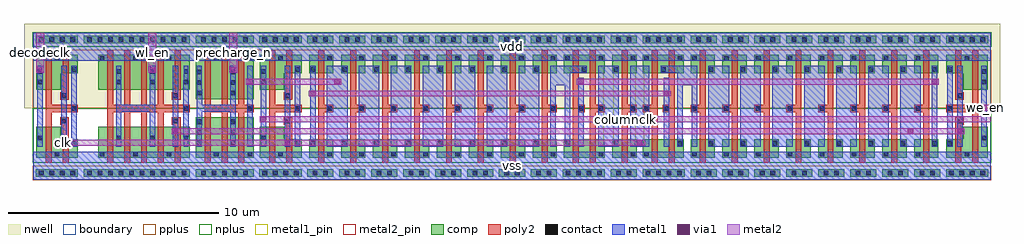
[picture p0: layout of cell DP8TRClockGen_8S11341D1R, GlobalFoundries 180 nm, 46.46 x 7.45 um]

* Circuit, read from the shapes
.subckt DP8TRClockGen_8S11341D1R clk columnclk decodeclk precharge_n vdd vss we_en wl_en
XM1 vss n1 decodeclk vss nfet_03v3 w=1.475u l=0.28u
XM2 n1 clk vss vss nfet_03v3 w=0.88u l=0.28u
XM3 wl_en n2 vss vss nfet_03v3 w=1.475u l=0.28u m=4
XM4 n2 DP8TRNonOvlClock_8S11341D1R_4/firststage[7] vss vss nfet_03v3 w=1.475u l=0.28u
XM5 vss inv_x3_2/i precharge_n vss nfet_03v3 w=1.925u l=0.28u m=3
XM6 vss n3 columnclk vss nfet_03v3 w=1.475u l=0.28u
XM7 n3 clk vss vss nfet_03v3 w=0.88u l=0.28u
XM8 vss inv_x3_2/i DP8TRNonOvlClock_8S11341D1R_4/secondstage[8] vss nfet_03v3 w=0.88u l=0.28u
XM9 vss DP8TRNonOvlClock_8S11341D1R_4/secondstage[6] inv_x3_2/i vss nfet_03v3 w=0.88u l=0.28u
XM10 vss DP8TRNonOvlClock_8S11341D1R_4/secondstage[5] DP8TRNonOvlClock_8S11341D1R_4/secondstage[6] vss nfet_03v3 w=0.88u l=0.28u
XM11 vss DP8TRNonOvlClock_8S11341D1R_4/secondstage[4] DP8TRNonOvlClock_8S11341D1R_4/secondstage[5] vss nfet_03v3 w=0.88u l=0.28u
XM12 vss DP8TRNonOvlClock_8S11341D1R_4/secondstage[3] DP8TRNonOvlClock_8S11341D1R_4/secondstage[4] vss nfet_03v3 w=0.88u l=0.28u
XM13 vss DP8TRNonOvlClock_8S11341D1R_4/secondstage[2] DP8TRNonOvlClock_8S11341D1R_4/secondstage[3] vss nfet_03v3 w=0.88u l=0.28u
XM14 vss DP8TRNonOvlClock_8S11341D1R_4/secondstage[1] DP8TRNonOvlClock_8S11341D1R_4/secondstage[2] vss nfet_03v3 w=0.88u l=0.28u
XM15 vss DP8TRNonOvlClock_8S11341D1R_4/secondstage[0] DP8TRNonOvlClock_8S11341D1R_4/secondstage[1] vss nfet_03v3 w=0.88u l=0.28u
XM16 n4 DP8TRNonOvlClock_8S11341D1R_4/firststage[8] DP8TRNonOvlClock_8S11341D1R_4/secondstage[0] vss nfet_03v3 w=0.88u l=0.28u
XM17 vss DP8TRNonOvlClock_8S11341D1R_4/nand2_x0_8/i0 n4 vss nfet_03v3 w=0.88u l=0.28u
XM18 vss clk DP8TRNonOvlClock_8S11341D1R_4/nand2_x0_8/i0 vss nfet_03v3 w=0.88u l=0.28u
XM19 n5 clk vss vss nfet_03v3 w=0.88u l=0.28u
XM20 DP8TRNonOvlClock_8S11341D1R_4/firststage[0] DP8TRNonOvlClock_8S11341D1R_4/secondstage[8] n5 vss nfet_03v3 w=0.88u l=0.28u
XM21 DP8TRNonOvlClock_8S11341D1R_4/firststage[1] DP8TRNonOvlClock_8S11341D1R_4/firststage[0] vss vss nfet_03v3 w=0.88u l=0.28u
XM22 DP8TRNonOvlClock_8S11341D1R_4/firststage[2] DP8TRNonOvlClock_8S11341D1R_4/firststage[1] vss vss nfet_03v3 w=0.88u l=0.28u
XM23 DP8TRNonOvlClock_8S11341D1R_4/firststage[3] DP8TRNonOvlClock_8S11341D1R_4/firststage[2] vss vss nfet_03v3 w=0.88u l=0.28u
XM24 DP8TRNonOvlClock_8S11341D1R_4/firststage[4] DP8TRNonOvlClock_8S11341D1R_4/firststage[3] vss vss nfet_03v3 w=0.88u l=0.28u
XM25 DP8TRNonOvlClock_8S11341D1R_4/firststage[5] DP8TRNonOvlClock_8S11341D1R_4/firststage[4] vss vss nfet_03v3 w=0.88u l=0.28u
XM26 DP8TRNonOvlClock_8S11341D1R_4/firststage[6] DP8TRNonOvlClock_8S11341D1R_4/firststage[5] vss vss nfet_03v3 w=0.88u l=0.28u
XM27 DP8TRNonOvlClock_8S11341D1R_4/firststage[7] DP8TRNonOvlClock_8S11341D1R_4/firststage[6] vss vss nfet_03v3 w=0.88u l=0.28u
XM28 DP8TRNonOvlClock_8S11341D1R_4/firststage[8] DP8TRNonOvlClock_8S11341D1R_4/firststage[7] vss vss nfet_03v3 w=0.88u l=0.28u
XM29 vss DP8TRNonOvlClock_8S11341D1R_4/firststage[7] n6 vss nfet_03v3 w=0.88u l=0.28u
XM30 we_en n6 vss vss nfet_03v3 w=1.475u l=0.28u
XM31 vdd n1 decodeclk vdd pfet_03v3 w=1.675u l=0.28u
XM32 n1 clk vdd vdd pfet_03v3 w=0.88u l=0.28u
XM33 wl_en n2 vdd vdd pfet_03v3 w=1.675u l=0.28u m=4
XM34 n2 DP8TRNonOvlClock_8S11341D1R_4/firststage[7] vdd vdd pfet_03v3 w=1.675u l=0.28u
XM35 vdd inv_x3_2/i precharge_n vdd pfet_03v3 w=2.125u l=0.28u m=3
XM36 vdd n3 columnclk vdd pfet_03v3 w=1.675u l=0.28u
XM37 n3 clk vdd vdd pfet_03v3 w=0.88u l=0.28u
XM38 vdd inv_x3_2/i DP8TRNonOvlClock_8S11341D1R_4/secondstage[8] vdd pfet_03v3 w=0.88u l=0.28u
XM39 vdd DP8TRNonOvlClock_8S11341D1R_4/secondstage[6] inv_x3_2/i vdd pfet_03v3 w=0.88u l=0.28u
XM40 vdd DP8TRNonOvlClock_8S11341D1R_4/secondstage[5] DP8TRNonOvlClock_8S11341D1R_4/secondstage[6] vdd pfet_03v3 w=0.88u l=0.28u
XM41 vdd DP8TRNonOvlClock_8S11341D1R_4/secondstage[4] DP8TRNonOvlClock_8S11341D1R_4/secondstage[5] vdd pfet_03v3 w=0.88u l=0.28u
XM42 vdd DP8TRNonOvlClock_8S11341D1R_4/secondstage[3] DP8TRNonOvlClock_8S11341D1R_4/secondstage[4] vdd pfet_03v3 w=0.88u l=0.28u
XM43 vdd DP8TRNonOvlClock_8S11341D1R_4/secondstage[2] DP8TRNonOvlClock_8S11341D1R_4/secondstage[3] vdd pfet_03v3 w=0.88u l=0.28u
XM44 vdd DP8TRNonOvlClock_8S11341D1R_4/secondstage[1] DP8TRNonOvlClock_8S11341D1R_4/secondstage[2] vdd pfet_03v3 w=0.88u l=0.28u
XM45 vdd DP8TRNonOvlClock_8S11341D1R_4/secondstage[0] DP8TRNonOvlClock_8S11341D1R_4/secondstage[1] vdd pfet_03v3 w=0.88u l=0.28u
XM46 DP8TRNonOvlClock_8S11341D1R_4/secondstage[0] DP8TRNonOvlClock_8S11341D1R_4/firststage[8] vdd vdd pfet_03v3 w=0.88u l=0.28u
XM47 vdd DP8TRNonOvlClock_8S11341D1R_4/nand2_x0_8/i0 DP8TRNonOvlClock_8S11341D1R_4/secondstage[0] vdd pfet_03v3 w=0.88u l=0.28u
XM48 vdd clk DP8TRNonOvlClock_8S11341D1R_4/nand2_x0_8/i0 vdd pfet_03v3 w=0.88u l=0.28u
XM49 DP8TRNonOvlClock_8S11341D1R_4/firststage[0] clk vdd vdd pfet_03v3 w=0.88u l=0.28u
XM50 vdd DP8TRNonOvlClock_8S11341D1R_4/secondstage[8] DP8TRNonOvlClock_8S11341D1R_4/firststage[0] vdd pfet_03v3 w=0.88u l=0.28u
XM51 DP8TRNonOvlClock_8S11341D1R_4/firststage[1] DP8TRNonOvlClock_8S11341D1R_4/firststage[0] vdd vdd pfet_03v3 w=0.88u l=0.28u
XM52 DP8TRNonOvlClock_8S11341D1R_4/firststage[2] DP8TRNonOvlClock_8S11341D1R_4/firststage[1] vdd vdd pfet_03v3 w=0.88u l=0.28u
XM53 DP8TRNonOvlClock_8S11341D1R_4/firststage[3] DP8TRNonOvlClock_8S11341D1R_4/firststage[2] vdd vdd pfet_03v3 w=0.88u l=0.28u
XM54 DP8TRNonOvlClock_8S11341D1R_4/firststage[4] DP8TRNonOvlClock_8S11341D1R_4/firststage[3] vdd vdd pfet_03v3 w=0.88u l=0.28u
XM55 DP8TRNonOvlClock_8S11341D1R_4/firststage[5] DP8TRNonOvlClock_8S11341D1R_4/firststage[4] vdd vdd pfet_03v3 w=0.88u l=0.28u
XM56 DP8TRNonOvlClock_8S11341D1R_4/firststage[6] DP8TRNonOvlClock_8S11341D1R_4/firststage[5] vdd vdd pfet_03v3 w=0.88u l=0.28u
XM57 DP8TRNonOvlClock_8S11341D1R_4/firststage[7] DP8TRNonOvlClock_8S11341D1R_4/firststage[6] vdd vdd pfet_03v3 w=0.88u l=0.28u
XM58 DP8TRNonOvlClock_8S11341D1R_4/firststage[8] DP8TRNonOvlClock_8S11341D1R_4/firststage[7] vdd vdd pfet_03v3 w=0.88u l=0.28u
XM59 vdd DP8TRNonOvlClock_8S11341D1R_4/firststage[7] n6 vdd pfet_03v3 w=0.88u l=0.28u
XM60 we_en n6 vdd vdd pfet_03v3 w=1.675u l=0.28u
.ends

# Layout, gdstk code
from math import pi, radians
import gdstk
lib = gdstk.Library(unit=1e-6, precision=1e-09)
def R(c, l, rs):  # rectangles x0, y0, x1, y1
    for r in rs: c.add(gdstk.rectangle(r[:2], r[2:], *l))
def A(c, l, x, y, w, h, nx, ny, dx, dy):  # array of equal rectangles
    R(c, l, [(x+i*dx, y+j*dy, x+i*dx+w, y+j*dy+h) for i in range(nx) for j in range(ny)])
def P(c, l, *ps):  # polygons
    for p in ps: c.add(gdstk.Polygon(p, *l))
boundary = (0, 0)
nwell = (21, 0)
comp = (22, 0)
poly2 = (30, 0)
pplus = (31, 0)
nplus = (32, 0)
contact = (33, 0)
metal1 = (34, 0)
metal1_pin = (34, 10)
via1 = (35, 0)
metal2 = (36, 0)
metal2_pin = (36, 10)

buf_x1 = lib.new_cell('buf_x1')
R(buf_x1, nwell, [(-0.43,3.4,2.71,7.43)])
R(buf_x1, comp, [(0.14,0.14,2.14,0.5), (0.14,6.5,2.14,6.86)])
P(buf_x1, comp, [(0.14,1.045),(0.14,1.925),(0.96,1.925),(0.96,2.52),(2.12,2.52),(2.12,1.045)],
  [(0.96,4.28),(0.96,5.075),(0.14,5.075),(0.14,5.955),(2.12,5.955),(2.12,4.28)])
P(buf_x1, poly2, [(1.4,0.825),(1.4,3.22),(0.14,3.22),(0.14,3.58),(1.4,3.58),(1.4,6.175),(1.68,6.175),(1.68,0.825)],
  [(0.58,0.825),(0.58,2.98),(0.99,2.98),(0.99,2.62),(0.86,2.62),(0.86,0.825)],
  [(0.58,3.82),(0.58,6.175),(0.86,6.175),(0.86,4.18),(0.99,4.18),(0.99,3.82)])
R(buf_x1, pplus, [(-0.02,-0.02,2.3,0.66), (-0.02,3.4,2.3,6.185)])
R(buf_x1, nplus, [(-0.02,0.815,2.3,3.4), (-0.02,6.34,2.3,7.02)])
A(buf_x1, contact, 0.28, 0.21, 0.22, 0.22, 4, 2, 0.5, 6.36)
R(buf_x1, contact, [(1.03,1.115,1.25,1.335), (0.21,1.63,0.43,1.85), (1.83,1.875,2.05,2.095), (0.7,2.69,0.92,2.91), (0.21,3.29,0.43,3.51), (0.7,3.89,0.92,4.11), (1.83,4.555,2.05,4.775), (1.83,5.055,2.05,5.275), (0.21,5.15,0.43,5.37), (1.03,5.665,1.25,5.885)])
R(buf_x1, metal1, [(0,0,2.28,1.34), (0.19,1.57,0.45,5.43), (0.68,1.57,0.94,5.43), (1.81,1.57,2.07,5.43), (0,5.66,2.28,7)])
R(buf_x1, metal1_pin, [(0,0,2.28,1.34), (0.68,1.57,0.94,5.43), (1.81,1.57,2.07,5.43), (0,5.66,2.28,7)])
buf_x1.add(gdstk.Label('vdd', (1.14,6.33), layer=34, texttype=10))
buf_x1.add(gdstk.Label('vss', (1.14,0.67), layer=34, texttype=10))
buf_x1.add(gdstk.Label('i', (0.81,3.5), layer=34, texttype=10))
buf_x1.add(gdstk.Label('q', (1.94,3.5), layer=34, texttype=10))

buf_x4 = lib.new_cell('buf_x4')
R(buf_x4, nwell, [(-0.43,3.4,5.75,7.43)])
R(buf_x4, comp, [(0.14,0.14,5.18,0.5), (0.14,1.045,4.5,2.52), (0.14,4.28,4.5,5.955), (0.14,6.5,5.18,6.86)])
P(buf_x4, poly2, [(1.38,0.825),(1.38,3.22),(0.14,3.22),(0.14,3.58),(1.38,3.58),(1.38,6.175),(1.66,6.175),(1.66,3.58),(2.18,3.58),(2.18,6.175),(2.46,6.175),(2.46,3.58),(2.98,3.58),(2.98,6.175),(3.26,6.175),(3.26,3.58),(3.78,3.58),(3.78,6.175),(4.06,6.175),(4.06,0.825),(3.78,0.825),(3.78,3.22),(3.26,3.22),(3.26,0.825),(2.98,0.825),(2.98,3.22),(2.46,3.22),(2.46,0.825),(2.18,0.825),(2.18,3.22),(1.66,3.22),(1.66,0.825)],
  [(0.58,0.825),(0.58,2.98),(0.99,2.98),(0.99,2.62),(0.86,2.62),(0.86,0.825)],
  [(0.58,3.82),(0.58,6.175),(0.86,6.175),(0.86,4.18),(0.99,4.18),(0.99,3.82)])
R(buf_x4, pplus, [(-0.02,-0.02,5.34,0.66), (-0.02,3.4,5.34,6.185)])
R(buf_x4, nplus, [(-0.02,0.815,5.34,3.4), (-0.02,6.34,5.34,7.02)])
A(buf_x4, contact, 0.3, 0.21, 0.22, 0.22, 10, 2, 0.5, 6.36)
A(buf_x4, contact, 1.01, 1.115, 0.22, 0.22, 3, 2, 1.6, 4.55)
A(buf_x4, contact, 0.21, 1.875, 0.22, 0.22, 3, 2, 1.6, 2.68)
A(buf_x4, contact, 0.21, 5.055, 0.22, 0.22, 3, 1, 1.6, 0)
R(buf_x4, contact, [(0.7,2.69,0.92,2.91), (0.21,3.29,0.43,3.51), (0.7,3.89,0.92,4.11)])
R(buf_x4, metal1, [(0,0,5.32,1.34), (0.68,1.57,0.94,5.43), (0,5.66,5.32,7)])
P(buf_x4, metal1, [(0.205,1.57),(0.205,2.06),(0.19,2.06),(0.19,4.74),(0.205,4.74),(0.205,5.43),(0.435,5.43),(0.435,4.74),(0.45,4.74),(0.45,2.06),(0.435,2.06),(0.435,1.57)],
  [(1.79,1.57),(1.79,5.43),(2.05,5.43),(2.05,3.57),(3.39,3.57),(3.39,4.74),(3.405,4.74),(3.405,5.43),(3.635,5.43),(3.635,4.74),(3.65,4.74),(3.65,2.06),(3.635,2.06),(3.635,1.57),(3.405,1.57),(3.405,2.06),(3.39,2.06),(3.39,3.23),(2.05,3.23),(2.05,1.57)])
R(buf_x4, metal1_pin, [(0,0,5.32,1.34), (0.68,1.57,0.94,5.43), (1.79,1.57,2.05,5.43), (0,5.66,5.32,7)])
buf_x4.add(gdstk.Label('vdd', (2.66,6.33), layer=34, texttype=10))
buf_x4.add(gdstk.Label('vss', (2.66,0.67), layer=34, texttype=10))
buf_x4.add(gdstk.Label('i', (0.81,3.5), layer=34, texttype=10))
buf_x4.add(gdstk.Label('q', (1.92,3.5), layer=34, texttype=10))

inv_x3 = lib.new_cell('inv_x3')
R(inv_x3, nwell, [(-0.43,3.4,3.47,7.43)])
R(inv_x3, comp, [(0.14,0.14,2.9,0.5), (0.14,1.045,2.9,2.97), (0.14,3.83,2.9,5.955), (0.14,6.5,2.9,6.86)])
P(inv_x3, poly2, [(0.58,0.825),(0.58,3.22),(0.14,3.22),(0.14,3.58),(0.58,3.58),(0.58,6.175),(0.86,6.175),(0.86,3.58),(1.38,3.58),(1.38,6.175),(1.66,6.175),(1.66,3.58),(2.18,3.58),(2.18,6.175),(2.46,6.175),(2.46,0.825),(2.18,0.825),(2.18,3.22),(1.66,3.22),(1.66,0.825),(1.38,0.825),(1.38,3.22),(0.86,3.22),(0.86,0.825)])
R(inv_x3, pplus, [(-0.02,-0.02,3.06,0.66), (-0.02,3.4,3.06,6.185)])
R(inv_x3, nplus, [(-0.02,0.815,3.06,3.4), (-0.02,6.34,3.06,7.02)])
A(inv_x3, contact, 0.41, 0.21, 0.22, 0.22, 5, 2, 0.5, 6.36)
A(inv_x3, contact, 1.01, 1.655, 0.22, 0.22, 1, 3, 0, 0.5)
A(inv_x3, contact, 2.61, 1.655, 0.22, 0.22, 1, 3, 0, 0.5)
A(inv_x3, contact, 1.01, 4.025, 0.22, 0.22, 1, 3, 0, 0.5)
A(inv_x3, contact, 2.61, 4.025, 0.22, 0.22, 1, 3, 0, 0.5)
R(inv_x3, contact, [(0.21,1.115,0.43,1.335), (1.81,1.115,2.03,1.335), (0.21,3.29,0.43,3.51), (0.21,5.665,0.43,5.885), (1.81,5.665,2.03,5.885)])
R(inv_x3, metal1, [(0,0,3.04,1.34), (0.19,1.57,0.45,5.43), (0,5.66,3.04,7)])
P(inv_x3, metal1, [(0.99,1.57),(0.99,5.43),(1.25,5.43),(1.25,3.57),(2.59,3.57),(2.59,4.305),(2.605,4.305),(2.605,5.43),(2.835,5.43),(2.835,4.305),(2.85,4.305),(2.85,2.595),(2.835,2.595),(2.835,1.57),(2.605,1.57),(2.605,2.595),(2.59,2.595),(2.59,3.23),(1.25,3.23),(1.25,1.57)])
R(inv_x3, metal1_pin, [(0,0,3.04,1.34), (0.19,1.57,0.45,5.43), (0.99,1.57,1.25,5.43), (0,5.66,3.04,7)])
inv_x3.add(gdstk.Label('vss', (1.52,0.67), layer=34, texttype=10))
inv_x3.add(gdstk.Label('vdd', (1.52,6.33), layer=34, texttype=10))
inv_x3.add(gdstk.Label('nq', (1.12,3.5), layer=34, texttype=10))
inv_x3.add(gdstk.Label('i', (0.32,3.5), layer=34, texttype=10))

inv_x0 = lib.new_cell('inv_x0')
R(inv_x0, nwell, [(-0.43,3.4,1.95,7.43)])
R(inv_x0, comp, [(0.14,0.14,1.38,0.5), (0.14,1.045,1.3,1.925), (0.14,5.075,1.3,5.955), (0.14,6.5,1.38,6.86)])
P(inv_x0, poly2, [(0.58,0.825),(0.58,3.22),(0.14,3.22),(0.14,3.58),(0.58,3.58),(0.58,6.175),(0.86,6.175),(0.86,0.825)])
R(inv_x0, pplus, [(-0.02,-0.02,1.54,0.66), (-0.02,3.4,1.54,6.185)])
R(inv_x0, nplus, [(-0.02,0.815,1.54,3.4), (-0.02,6.34,1.54,7.02)])
R(inv_x0, contact, [(0.4,0.21,0.62,0.43), (0.9,0.21,1.12,0.43), (0.21,1.115,0.43,1.335), (1.01,1.63,1.23,1.85), (0.21,3.29,0.43,3.51), (1.01,5.15,1.23,5.37), (0.21,5.665,0.43,5.885), (0.4,6.57,0.62,6.79), (0.9,6.57,1.12,6.79)])
R(inv_x0, metal1, [(0,0,1.52,1.34), (0.19,1.57,0.45,5.43), (0.99,1.57,1.25,5.43), (0,5.66,1.52,7)])
R(inv_x0, metal1_pin, [(0,0,1.52,1.34), (0.19,1.57,0.45,5.43), (0.99,1.57,1.25,5.43), (0,5.66,1.52,7)])
inv_x0.add(gdstk.Label('vss', (0.76,0.67), layer=34, texttype=10))
inv_x0.add(gdstk.Label('vdd', (0.76,6.33), layer=34, texttype=10))
inv_x0.add(gdstk.Label('nq', (1.12,3.5), layer=34, texttype=10))
inv_x0.add(gdstk.Label('i', (0.32,3.5), layer=34, texttype=10))

nand2_x0 = lib.new_cell('nand2_x0')
R(nand2_x0, nwell, [(-0.43,3.4,2.71,7.43)])
R(nand2_x0, comp, [(0.14,0.14,2.14,0.5), (0.14,1.045,2.1,1.925), (0.14,5.075,2.1,5.955), (0.14,6.5,2.14,6.86)])
P(nand2_x0, poly2, [(0.58,0.825),(0.58,3.22),(0.14,3.22),(0.14,3.58),(0.58,3.58),(0.58,6.175),(0.86,6.175),(0.86,0.825)],
  [(1.38,0.825),(1.38,3.22),(1.1,3.22),(1.1,3.58),(1.38,3.58),(1.38,6.175),(1.66,6.175),(1.66,0.825)])
R(nand2_x0, pplus, [(-0.02,-0.02,2.3,0.66), (-0.02,3.4,2.3,6.185)])
R(nand2_x0, nplus, [(-0.02,0.815,2.3,3.4), (-0.02,6.34,2.3,7.02)])
A(nand2_x0, contact, 0.28, 0.21, 0.22, 0.22, 4, 2, 0.5, 6.36)
R(nand2_x0, contact, [(0.21,1.115,0.43,1.335), (1.81,1.63,2.03,1.85), (0.21,3.29,0.43,3.51), (1.17,3.29,1.39,3.51), (1.01,5.15,1.23,5.37), (0.21,5.665,0.43,5.885), (1.81,5.665,2.03,5.885)])
R(nand2_x0, metal1, [(0,0,2.28,1.34), (0.19,1.57,0.45,5.43), (1.15,1.57,1.41,4.86), (0,5.66,2.28,7)])
P(nand2_x0, metal1, [(1.79,1.57),(1.79,5.09),(1.005,5.09),(1.005,5.43),(2.05,5.43),(2.05,1.57)])
R(nand2_x0, metal1_pin, [(0,0,2.28,1.34), (0.19,1.57,0.45,5.43), (1.15,1.57,1.41,4.86), (1.79,1.57,2.05,5.43), (0,5.66,2.28,7)])
nand2_x0.add(gdstk.Label('vss', (1.14,0.67), layer=34, texttype=10))
nand2_x0.add(gdstk.Label('vdd', (1.14,6.33), layer=34, texttype=10))
nand2_x0.add(gdstk.Label('i0', (0.32,3.5), layer=34, texttype=10))
nand2_x0.add(gdstk.Label('nq', (1.92,3.5), layer=34, texttype=10))
nand2_x0.add(gdstk.Label('i1', (1.28,3.215), layer=34, texttype=10))

dp8trnonovlclock_8s11341 = lib.new_cell('DP8TRNonOvlClock_8S11341D1R')
R(dp8trnonovlclock_8s11341, boundary, [(0,0,30.4,7)])
A(dp8trnonovlclock_8s11341, metal1, 1.07, 1.57, 0.98, 3.86, 7, 1, 1.52, 0)
A(dp8trnonovlclock_8s11341, metal1, 19.23, 1.57, 0.98, 3.86, 7, 1, 1.52, 0)
R(dp8trnonovlclock_8s11341, metal1, [(0,0,30.4,1.34), (14.12,1.57,14.84,5.43), (15.64,1.57,16.28,5.43), (0.27,3.92,0.53,4.3), (17.11,3.92,17.37,4.3), (13.03,4.48,13.29,4.86), (29.87,4.48,30.13,4.86), (11.71,4.51,12.52,5.43), (17.88,4.51,18.69,5.43), (0,5.66,30.4,7)])
A(dp8trnonovlclock_8s11341, metal1_pin, 1.07, 1.57, 0.98, 3.86, 7, 1, 1.52, 0)
A(dp8trnonovlclock_8s11341, metal1_pin, 19.23, 1.57, 0.98, 3.86, 7, 1, 1.52, 0)
R(dp8trnonovlclock_8s11341, metal1_pin, [(0,0,30.4,1.34), (11.71,4.51,12.52,5.43), (17.88,4.51,18.69,5.43), (0,5.66,30.4,7)])
R(dp8trnonovlclock_8s11341, via1, [(15.83,1.63,16.09,1.89), (0.27,3.98,0.53,4.24), (17.11,3.98,17.37,4.24), (13.03,4.54,13.29,4.8), (29.87,4.54,30.13,4.8)])
R(dp8trnonovlclock_8s11341, metal2, [(15.7,1.62,16.22,1.9), (0.21,3.97,17.43,4.25), (12.97,4.53,30.19,4.81)])
R(dp8trnonovlclock_8s11341, metal2_pin, [(15.7,1.62,16.22,1.9), (0.21,3.97,17.43,4.25), (12.97,4.53,30.19,4.81)])
dp8trnonovlclock_8s11341.add(gdstk.Reference(inv_x0, (1.52,0), rotation=pi, x_reflection=True))
dp8trnonovlclock_8s11341.add(gdstk.Reference(inv_x0, (3.04,0), rotation=pi, x_reflection=True))
dp8trnonovlclock_8s11341.add(gdstk.Reference(inv_x0, (4.56,0), rotation=pi, x_reflection=True))
dp8trnonovlclock_8s11341.add(gdstk.Reference(inv_x0, (6.08,0), rotation=pi, x_reflection=True))
dp8trnonovlclock_8s11341.add(gdstk.Reference(inv_x0, (7.6,0), rotation=pi, x_reflection=True))
dp8trnonovlclock_8s11341.add(gdstk.Reference(inv_x0, (9.12,0), rotation=pi, x_reflection=True))
dp8trnonovlclock_8s11341.add(gdstk.Reference(inv_x0, (10.64,0), rotation=pi, x_reflection=True))
dp8trnonovlclock_8s11341.add(gdstk.Reference(inv_x0, (12.16,0), rotation=pi, x_reflection=True))
dp8trnonovlclock_8s11341.add(gdstk.Reference(nand2_x0, (14.44,0), rotation=pi, x_reflection=True))
dp8trnonovlclock_8s11341.add(gdstk.Reference(inv_x0, (15.96,0), rotation=pi, x_reflection=True))
dp8trnonovlclock_8s11341.add(gdstk.Reference(nand2_x0, (15.96,0)))
dp8trnonovlclock_8s11341.add(gdstk.Reference(inv_x0, (18.24,0)))
dp8trnonovlclock_8s11341.add(gdstk.Reference(inv_x0, (19.76,0)))
dp8trnonovlclock_8s11341.add(gdstk.Reference(inv_x0, (21.28,0)))
dp8trnonovlclock_8s11341.add(gdstk.Reference(inv_x0, (22.8,0)))
dp8trnonovlclock_8s11341.add(gdstk.Reference(inv_x0, (24.32,0)))
dp8trnonovlclock_8s11341.add(gdstk.Reference(inv_x0, (25.84,0)))
dp8trnonovlclock_8s11341.add(gdstk.Reference(inv_x0, (27.36,0)))
dp8trnonovlclock_8s11341.add(gdstk.Reference(inv_x0, (28.88,0)))
dp8trnonovlclock_8s11341.add(gdstk.Label('clk', (15.96,1.76), layer=36, texttype=10))
dp8trnonovlclock_8s11341.add(gdstk.Label('firststage[8]', (21.58,4.67), layer=36, texttype=10))
dp8trnonovlclock_8s11341.add(gdstk.Label('secondstage[8]', (8.82,4.11), layer=36, texttype=10))
dp8trnonovlclock_8s11341.add(gdstk.Label('vss', (15.2,0.67), layer=34, texttype=10))
dp8trnonovlclock_8s11341.add(gdstk.Label('vdd', (15.2,6.33), layer=34, texttype=10))
dp8trnonovlclock_8s11341.add(gdstk.Label('firststage[0]', (18.285,4.97), layer=34, texttype=10))
dp8trnonovlclock_8s11341.add(gdstk.Label('secondstage[0]', (12.115,4.97), layer=34, texttype=10))
dp8trnonovlclock_8s11341.add(gdstk.Label('firststage[1]', (19.72,3.5), layer=34, texttype=10))
dp8trnonovlclock_8s11341.add(gdstk.Label('secondstage[1]', (10.68,3.5), layer=34, texttype=10))
dp8trnonovlclock_8s11341.add(gdstk.Label('firststage[2]', (21.24,3.5), layer=34, texttype=10))
dp8trnonovlclock_8s11341.add(gdstk.Label('secondstage[2]', (9.16,3.5), layer=34, texttype=10))
dp8trnonovlclock_8s11341.add(gdstk.Label('firststage[3]', (22.76,3.5), layer=34, texttype=10))
dp8trnonovlclock_8s11341.add(gdstk.Label('secondstage[3]', (7.64,3.5), layer=34, texttype=10))
dp8trnonovlclock_8s11341.add(gdstk.Label('firststage[4]', (24.28,3.5), layer=34, texttype=10))
dp8trnonovlclock_8s11341.add(gdstk.Label('secondstage[4]', (6.12,3.5), layer=34, texttype=10))
dp8trnonovlclock_8s11341.add(gdstk.Label('firststage[5]', (25.8,3.5), layer=34, texttype=10))
dp8trnonovlclock_8s11341.add(gdstk.Label('secondstage[5]', (4.6,3.5), layer=34, texttype=10))
dp8trnonovlclock_8s11341.add(gdstk.Label('firststage[6]', (27.32,3.5), layer=34, texttype=10))
dp8trnonovlclock_8s11341.add(gdstk.Label('secondstage[6]', (3.08,3.5), layer=34, texttype=10))
dp8trnonovlclock_8s11341.add(gdstk.Label('firststage[7]', (28.84,3.5), layer=34, texttype=10))
dp8trnonovlclock_8s11341.add(gdstk.Label('secondstage[7]', (1.56,3.5), layer=34, texttype=10))

dp8trclockgen_8s11341d1r = lib.new_cell('DP8TRClockGen_8S11341D1R')
R(dp8trclockgen_8s11341d1r, boundary, [(0,0,45.6,7)])
R(dp8trclockgen_8s11341d1r, metal1, [(0,0,45.6,1.34), (1.34,1.57,1.6,1.95), (11.98,1.57,12.24,1.95), (6.66,2.13,6.92,2.51), (41.63,2.13,41.89,2.51), (44,2.13,44.26,2.51), (10.85,2.69,11.11,3.07), (45.13,3.25,45.39,3.63), (10.19,4.48,10.45,4.86), (14.35,4.48,14.61,4.86), (0.21,5.05,0.47,5.43), (5.55,5.05,5.81,5.43), (9.39,5.05,9.65,5.43), (0,5.66,45.6,7)])
R(dp8trclockgen_8s11341d1r, metal1_pin, [(0,0,45.6,1.34), (0,5.66,45.6,7)])
R(dp8trclockgen_8s11341d1r, via1, [(1.34,1.63,1.6,1.89), (11.98,1.63,12.24,1.89), (6.66,2.19,6.92,2.45), (41.63,2.19,41.89,2.45), (44,2.19,44.26,2.45), (10.85,2.75,11.11,3.01), (45.13,3.31,45.39,3.57), (10.19,4.54,10.45,4.8), (14.35,4.54,14.61,4.8), (0.21,5.11,0.47,5.37), (5.55,5.11,5.81,5.37), (9.39,5.11,9.65,5.37)])
R(dp8trclockgen_8s11341d1r, metal2, [(1.28,1.62,29.14,1.9), (6.6,2.18,44.32,2.46), (10.79,2.74,45.6,3.02), (45.07,3.3,45.6,3.58), (10.13,4.53,14.67,4.81), (0.15,5.1,0.53,7), (5.49,5.1,5.87,7), (9.33,5.1,9.71,7)])
R(dp8trclockgen_8s11341d1r, metal2_pin, [(1.28,1.62,1.66,1.9), (10.79,2.74,45.6,3.02), (45.07,3.3,45.6,3.58), (0.15,5.1,0.53,7), (5.49,5.1,5.87,7), (9.33,5.1,9.71,7)])
dp8trclockgen_8s11341d1r.add(gdstk.Reference(buf_x1, (2.28,0), rotation=pi, x_reflection=True))
dp8trclockgen_8s11341d1r.add(gdstk.Reference(buf_x4, (7.6,0), rotation=pi, x_reflection=True))
dp8trclockgen_8s11341d1r.add(gdstk.Reference(inv_x3, (10.64,0), rotation=pi, x_reflection=True))
dp8trclockgen_8s11341d1r.add(gdstk.Reference(buf_x1, (12.92,0), rotation=pi, x_reflection=True))
dp8trclockgen_8s11341d1r.add(gdstk.Reference(dp8trnonovlclock_8s11341, (12.92,0)))
dp8trclockgen_8s11341d1r.add(gdstk.Reference(buf_x1, (43.32,0)))
dp8trclockgen_8s11341d1r.add(gdstk.Label('clk', (1.47,1.76), layer=36, texttype=10))
dp8trclockgen_8s11341d1r.add(gdstk.Label('decodeclk', (0.34,6.05), layer=36, texttype=10))
dp8trclockgen_8s11341d1r.add(gdstk.Label('wl_en', (5.68,6.05), layer=36, texttype=10))
dp8trclockgen_8s11341d1r.add(gdstk.Label('precharge_n', (9.52,6.05), layer=36, texttype=10))
dp8trclockgen_8s11341d1r.add(gdstk.Label('columnclk', (28.195,2.88), layer=36, texttype=10))
dp8trclockgen_8s11341d1r.add(gdstk.Label('we_en', (45.335,3.44), layer=36, texttype=10))
dp8trclockgen_8s11341d1r.add(gdstk.Label('vss', (22.8,0.67), layer=34, texttype=10))
dp8trclockgen_8s11341d1r.add(gdstk.Label('vdd', (22.8,6.33), layer=34, texttype=10))

lib.write_gds('DP8TRClockGen_8S11341D1R.gds')
